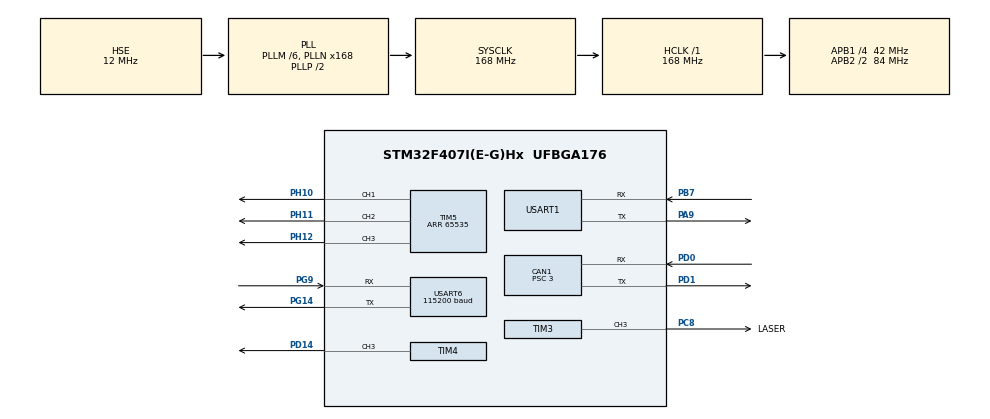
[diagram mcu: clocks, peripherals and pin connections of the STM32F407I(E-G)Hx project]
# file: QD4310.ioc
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CAN1.BS1=CAN_BS1_7TQ
CAN1.BS2=CAN_BS2_6TQ
CAN1.CalculateBaudRate=1000000
CAN1.CalculateTimeBit=1000
CAN1.CalculateTimeQuantum=71.42857142857143
CAN1.Prescaler=3
CAN1.SJW=CAN_SJW_2TQ
Dma.Request0=USART6_RX
Dma.Request1=USART6_TX
Dma.Request2=USART1_RX
Dma.USART1_RX.2.Direction=DMA_PERIPH_TO_MEMORY
Dma.USART1_RX.2.FIFOMode=DMA_FIFOMODE_DISABLE
Dma.USART1_RX.2.Instance=DMA2_Stream2
Dma.USART1_RX.2.MemDataAlignment=DMA_MDATAALIGN_BYTE
Dma.USART1_RX.2.MemInc=DMA_MINC_ENABLE
Dma.USART1_RX.2.Mode=DMA_NORMAL
Dma.USART1_RX.2.PeriphDataAlignment=DMA_PDATAALIGN_BYTE
Dma.USART1_RX.2.PeriphInc=DMA_PINC_DISABLE
Dma.USART1_RX.2.Priority=DMA_PRIORITY_HIGH
Dma.USART6_RX.0.Direction=DMA_PERIPH_TO_MEMORY
Dma.USART6_RX.0.FIFOMode=DMA_FIFOMODE_DISABLE
Dma.USART6_RX.0.Instance=DMA2_Stream1
Dma.USART6_RX.0.MemDataAlignment=DMA_MDATAALIGN_BYTE
Dma.USART6_RX.0.MemInc=DMA_MINC_ENABLE
Dma.USART6_RX.0.Mode=DMA_CIRCULAR
Dma.USART6_RX.0.PeriphDataAlignment=DMA_PDATAALIGN_BYTE
Dma.USART6_RX.0.PeriphInc=DMA_PINC_DISABLE
Dma.USART6_RX.0.Priority=DMA_PRIORITY_VERY_HIGH
Dma.USART6_TX.1.Direction=DMA_MEMORY_TO_PERIPH
Dma.USART6_TX.1.FIFOMode=DMA_FIFOMODE_DISABLE
Dma.USART6_TX.1.Instance=DMA2_Stream6
Dma.USART6_TX.1.MemDataAlignment=DMA_MDATAALIGN_BYTE
Dma.USART6_TX.1.MemInc=DMA_MINC_ENABLE
Dma.USART6_TX.1.Mode=DMA_CIRCULAR
Dma.USART6_TX.1.PeriphDataAlignment=DMA_PDATAALIGN_BYTE
Dma.USART6_TX.1.PeriphInc=DMA_PINC_DISABLE
Dma.USART6_TX.1.Priority=DMA_PRIORITY_MEDIUM
Mcu.Family=STM32F4
Mcu.Name=STM32F407I(E-G)Hx
Mcu.Package=UFBGA176
NVIC.CAN1_RX0_IRQn=true\:0\:0\:false\:false\:true\:true\:true\:true
NVIC.CAN1_RX1_IRQn=true\:0\:0\:false\:false\:true\:true\:true\:true
NVIC.CAN1_SCE_IRQn=true\:0\:0\:false\:false\:true\:true\:true\:true
NVIC.CAN1_TX_IRQn=true\:0\:0\:false\:false\:true\:true\:true\:true
NVIC.DMA2_Stream1_IRQn=true\:0\:0\:false\:false\:true\:false\:true\:true
NVIC.DMA2_Stream2_IRQn=true\:0\:0\:false\:false\:true\:false\:true\:true
NVIC.DMA2_Stream6_IRQn=true\:0\:0\:false\:false\:true\:false\:true\:true
NVIC.PriorityGroup=NVIC_PRIORITYGROUP_4
NVIC.TIM1_TRG_COM_TIM11_IRQn=true\:0\:0\:false\:false\:true\:true\:true\:true
NVIC.TIM8_BRK_TIM12_IRQn=true\:0\:0\:false\:false\:true\:true\:true\:true
NVIC.USART1_IRQn=true\:0\:0\:false\:false\:true\:true\:true\:true
NVIC.USART6_IRQn=true\:0\:0\:false\:false\:true\:true\:true\:true
PA13.Mode=Serial_Wire
PA13.Signal=SYS_JTMS-SWDIO
PA14.Mode=Serial_Wire
PA14.Signal=SYS_JTCK-SWCLK
PA9.Mode=Asynchronous
PA9.Signal=USART1_TX
PB7.Mode=Asynchronous
PB7.Signal=USART1_RX
PC14-OSC32_IN.Mode=LSE-External-Oscillator
PC14-OSC32_IN.Signal=RCC_OSC32_IN
PC15-OSC32_OUT.Mode=LSE-External-Oscillator
PC15-OSC32_OUT.Signal=RCC_OSC32_OUT
PC8.GPIO_Label=LASER
PC8.Signal=S_TIM3_CH3
PD0.Mode=CAN_Activate
PD0.Signal=CAN1_RX
PD1.Mode=CAN_Activate
PD1.Signal=CAN1_TX
PD14.Signal=S_TIM4_CH3
PG14.Mode=Asynchronous
PG14.Signal=USART6_TX
PG9.Mode=Asynchronous
PG9.Signal=USART6_RX
PH0-OSC_IN.Mode=HSE-External-Oscillator
PH0-OSC_IN.Signal=RCC_OSC_IN
PH1-OSC_OUT.Mode=HSE-External-Oscillator
PH1-OSC_OUT.Signal=RCC_OSC_OUT
PH10.Signal=S_TIM5_CH1
PH11.Signal=S_TIM5_CH2
PH12.Signal=S_TIM5_CH3
ProjectManager.HeapSize=0x200
ProjectManager.StackSize=0x400
ProjectManager.TargetToolchain=CMake
RCC.48MHZClocksFreq_Value=84000000
RCC.AHBFreq_Value=168000000
RCC.APB1CLKDivider=RCC_HCLK_DIV4
RCC.APB1Freq_Value=42000000
RCC.APB1TimFreq_Value=84000000
RCC.APB2CLKDivider=RCC_HCLK_DIV2
RCC.APB2Freq_Value=84000000
RCC.APB2TimFreq_Value=168000000
RCC.CortexFreq_Value=168000000
RCC.HCLKFreq_Value=168000000
RCC.HSE_VALUE=12000000
RCC.HSI_VALUE=16000000
RCC.PLLM=6
RCC.PLLN=168
RCC.PLLSourceVirtual=RCC_PLLSOURCE_HSE
RCC.SYSCLKFreq_VALUE=168000000
RCC.SYSCLKSource=RCC_SYSCLKSOURCE_PLLCLK
RCC.VCOOutputFreq_Value=336000000
SH.S_TIM3_CH3.0=TIM3_CH3,PWM Generation3 CH3
SH.S_TIM4_CH3.0=TIM4_CH3,PWM Generation3 CH3
SH.S_TIM5_CH1.0=TIM5_CH1,PWM Generation1 CH1
SH.S_TIM5_CH2.0=TIM5_CH2,PWM Generation2 CH2
SH.S_TIM5_CH3.0=TIM5_CH3,PWM Generation3 CH3
TIM11.AutoReloadPreload=TIM_AUTORELOAD_PRELOAD_ENABLE
TIM11.Prescaler=167
TIM12.AutoReloadPreload=TIM_AUTORELOAD_PRELOAD_ENABLE
TIM12.Period=9999
TIM12.Prescaler=83
TIM3.AutoReloadPreload=TIM_AUTORELOAD_PRELOAD_ENABLE
TIM3.Channel-PWM\ Generation3\ CH3=TIM_CHANNEL_3
TIM3.Period=1000-1
TIM3.Prescaler=167
TIM3.Pulse-PWM\ Generation3\ CH3=500
TIM4.Channel-PWM\ Generation3\ CH3=TIM_CHANNEL_3
TIM4.Period=20999
TIM5.Channel-PWM\ Generation1\ CH1=TIM_CHANNEL_1
TIM5.Channel-PWM\ Generation2\ CH2=TIM_CHANNEL_2
TIM5.Channel-PWM\ Generation3\ CH3=TIM_CHANNEL_3
TIM5.Period=65535
USART1.VirtualMode=VM_ASYNC
USART6.BaudRate=115200
USART6.VirtualMode=VM_ASYNC
VP_TIM11_VS_ClockSourceINT.Mode=Enable_Timer
VP_TIM12_VS_ClockSourceINT.Mode=Internal
VP_TIM4_VS_ClockSourceINT.Mode=Internal
VP_TIM5_VS_ClockSourceINT.Mode=Internal
board=custom

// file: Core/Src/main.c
/* USER CODE BEGIN Header */
/**
  ******************************************************************************
  * @file           : main.c
  * @brief          : Main program body
  ******************************************************************************
  * @attention
  *
  * Copyright (c) 2026 STMicroelectronics.
  * All rights reserved.
  *
  * This software is licensed under terms that can be found in the LICENSE file
  * in the root directory of this software component.
  * If no LICENSE file comes with this software, it is provided AS-IS.
  *
  ******************************************************************************
  */
/* USER CODE END Header */
#include "main.h"
#include "can.h"
#include "dma.h"
#include "tim.h"
#include "usart.h"
#include "gpio.h"

/* USER CODE BEGIN Includes */
#include "app_QD4310_PID.h"
#include "button_test.h"
#include "buzzer_test.h"
#include "delay_test.h"
#include "irqHandlers.h"
/* USER CODE END Includes */

/* USER CODE BEGIN PV */
volatile uint8_t buzzer_flag = 0;
uint32_t buzzer_time = 0;
/* USER CODE END PV */

void SystemClock_Config(void);

int main(void)
{

  /* MCU Configuration--------------------------------------------------------*/

  /* Reset of all peripherals, Initializes the Flash interface and the Systick. */
  HAL_Init();

  /* Configure the system clock */
  SystemClock_Config();

  /* Initialize all configured peripherals */
  MX_GPIO_Init();
  MX_DMA_Init();
  MX_CAN1_Init();
  MX_USART1_UART_Init();
  MX_TIM11_Init();
  MX_USART6_UART_Init();
  MX_TIM4_Init();
  MX_TIM5_Init();
  MX_TIM12_Init();
  MX_TIM3_Init();
  /* USER CODE BEGIN 2 */
  DebugTask_Init();//初始化的东西全在这里了，自己检查去吧
  //Delay_Test();GetUs也能正常用
  //Button_Test();按键也能正常用（没测试长按）
  //Buzzer_Test();蜂鸣器是可以响的！
  /* USER CODE END 2 */

  /* Infinite loop */
  /* USER CODE BEGIN WHILE */
  while (1) {
    DebugTask_Run();
    if (buzzer_flag == 1) {
      uint32_t elapsed = HAL_GetTick() - buzzer_time; // 获取已经过去的时间

      if (elapsed < 1500) {
        // 阶段 1：等待期（0 - 1.9s）
        // 保持静默，不要重置 buzzer_flag
        __HAL_TIM_SET_COMPARE(&htim5, TIM_CHANNEL_1,0);
        __HAL_TIM_SET_COMPARE(&htim5, TIM_CHANNEL_2,0);
        __HAL_TIM_SET_COMPARE(&htim5, TIM_CHANNEL_3,0);
        __HAL_TIM_SET_COMPARE(&htim4, TIM_CHANNEL_3,0);
      }
      else if (elapsed >= 1500 && elapsed < 2100) {
        // 阶段 2：响铃期（1.9s - 2.1s）
        uint32_t arr_pwm = __HAL_TIM_GET_AUTORELOAD(&htim5);
        uint32_t arr_buzzer = __HAL_TIM_GET_AUTORELOAD(&htim4);
        __HAL_TIM_SET_COMPARE(&htim5, TIM_CHANNEL_1, arr_pwm * 0.2f);
        __HAL_TIM_SET_COMPARE(&htim5, TIM_CHANNEL_2, arr_pwm * 0.2f);
        __HAL_TIM_SET_COMPARE(&htim5, TIM_CHANNEL_3, arr_pwm * 0.2f);
        __HAL_TIM_SET_COMPARE(&htim4, TIM_CHANNEL_3, arr_buzzer * 0.2f);
      }
      else {
        // 阶段 3：结束期（超过 2.1s）
        __HAL_TIM_SET_COMPARE(&htim5, TIM_CHANNEL_1, 0);
        __HAL_TIM_SET_COMPARE(&htim5, TIM_CHANNEL_2, 0);
        __HAL_TIM_SET_COMPARE(&htim5, TIM_CHANNEL_3, 0);
        __HAL_TIM_SET_COMPARE(&htim4, TIM_CHANNEL_3, 0);
        buzzer_flag = 0; // 只有流程全部跑完了，才重置标志位
      }
    }

    /* USER CODE END WHILE */

  }
}

void SystemClock_Config(void)
{
  RCC_OscInitTypeDef RCC_OscInitStruct = {0};
  RCC_ClkInitTypeDef RCC_ClkInitStruct = {0};

  /** Configure the main internal regulator output voltage
  */
  __HAL_RCC_PWR_CLK_ENABLE();
  __HAL_PWR_VOLTAGESCALING_CONFIG(PWR_REGULATOR_VOLTAGE_SCALE1);

  /** Initializes the RCC Oscillators according to the specified parameters
  * in the RCC_OscInitTypeDef structure.
  */
  RCC_OscInitStruct.OscillatorType = RCC_OSCILLATORTYPE_HSE;
  RCC_OscInitStruct.HSEState = RCC_HSE_ON;
  RCC_OscInitStruct.PLL.PLLState = RCC_PLL_ON;
  RCC_OscInitStruct.PLL.PLLSource = RCC_PLLSOURCE_HSE;
  RCC_OscInitStruct.PLL.PLLM = 6;
  RCC_OscInitStruct.PLL.PLLN = 168;
  RCC_OscInitStruct.PLL.PLLP = RCC_PLLP_DIV2;
  RCC_OscInitStruct.PLL.PLLQ = 4;
  if (HAL_RCC_OscConfig(&RCC_OscInitStruct) != HAL_OK)
  {
    Error_Handler();
  }

  /** Initializes the CPU, AHB and APB buses clocks
  */
  RCC_ClkInitStruct.ClockType = RCC_CLOCKTYPE_HCLK|RCC_CLOCKTYPE_SYSCLK
                              |RCC_CLOCKTYPE_PCLK1|RCC_CLOCKTYPE_PCLK2;
  RCC_ClkInitStruct.SYSCLKSource = RCC_SYSCLKSOURCE_PLLCLK;
  RCC_ClkInitStruct.AHBCLKDivider = RCC_SYSCLK_DIV1;
  RCC_ClkInitStruct.APB1CLKDivider = RCC_HCLK_DIV4;
  RCC_ClkInitStruct.APB2CLKDivider = RCC_HCLK_DIV2;

  if (HAL_RCC_ClockConfig(&RCC_ClkInitStruct, FLASH_LATENCY_5) != HAL_OK)
  {
    Error_Handler();
  }
}

void Error_Handler(void)
{
  __disable_irq();
  while (1)
  {
  }
}
